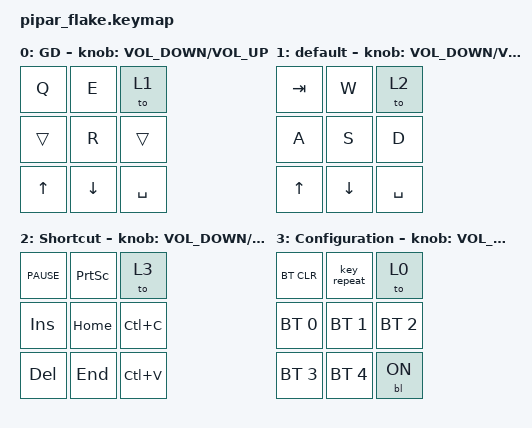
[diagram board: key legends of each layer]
/*
 * Copyright (c) 2022 The ZMK Contributors
 *
 * SPDX-License-Identifier: MIT
 */

#include <behaviors.dtsi>
#include <dt-bindings/zmk/backlight.h>
#include <dt-bindings/zmk/bt.h>
#include <dt-bindings/zmk/keys.h>

#define BASE        0
#define FUNC        1

/ {
    sensors: sensors {
        compatible = "zmk,keymap-sensors";
        sensors = <&encoder_1>;
        triggers-per-rotation = <24>;
    };

    keymap {
        compatible = "zmk,keymap";

        GeometryDash {
            bindings = <
&kp Q         &kp E           &to 1
&trans        &kp R           &trans
&kp UP_ARROW  &kp DOWN_ARROW  &kp SPACE
            >;

            sensor-bindings = <&inc_dec_kp C_VOLUME_DOWN C_VOLUME_UP>;
            label = "GD";
        };

        Main {
            // ---------------------------//
            // | Q    | W     | ENCODER | //
            // | A    | S     | D       | //
            // | Z    | X     | FN      | //

            display-name = "default";
            bindings = <
&kp TAB       &kp W           &to 2
&kp A         &kp S           &kp D
&kp UP_ARROW  &kp DOWN_ARROW  &kp SPACE
            >;

            sensor-bindings = <&inc_dec_kp C_VOLUME_DOWN C_VOLUME_UP>;
        };

        V2 {
            bindings = <
&kp C_PAUSE  &kp PRINTSCREEN  &to 3
&kp INS      &kp HOME         &kp LC(C)
&kp DELETE   &kp END          &kp LC(V)
            >;

            sensor-bindings = <&inc_dec_kp C_VOLUME_DOWN C_VOLUME_UP>;
            label = "Shortcut";
        };

        Config {
            // --------------------------- //
            // | BT_CLR | none | ENCODER | //
            // | BT_0   | BT_1 | BT_2    | //
            // | BT_3   | BT_4 | trans   | //

            display-name = "Configuration";
            bindings = <
&bt BT_CLR    &key_repeat   &to 0
&bt BT_SEL 0  &bt BT_SEL 1  &bt BT_SEL 2
&bt BT_SEL 3  &bt BT_SEL 4  &bl BL_ON
            >;

            sensor-bindings = <&inc_dec_kp C_VOLUME_DOWN C_VOLUME_UP>;
        };
    };
};
